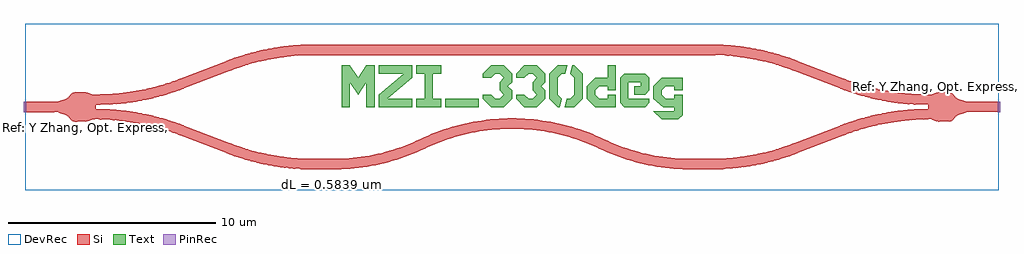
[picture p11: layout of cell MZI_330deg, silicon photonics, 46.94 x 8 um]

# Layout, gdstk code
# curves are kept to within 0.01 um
import gdstk
lib = gdstk.Library(unit=1e-6, precision=1e-09)
def R(c, l, rs):  # rectangles x0, y0, x1, y1
    for r in rs: c.add(gdstk.rectangle(r[:2], r[2:], *l))
def P(c, l, *ps):  # polygons
    for p in ps: c.add(gdstk.Polygon(p, *l))
Si = (1, 0)
PinRec = (1, 10)
Text = (10, 0)
DevRec = (68, 0)

optical_port1 = lib.new_cell('optical_port1')
optical_port1.add(gdstk.FlexPath([(0.05,0),(-0.05,0)], 0.5, ends="flush", simple_path=True, layer=1, datatype=10))  # PinRec
optical_port1.add(gdstk.FlexPath([(0.05,0),(-0.05,0)], 0.5, ends="flush", simple_path=True, layer=1, datatype=10))  # PinRec
optical_port1.add(gdstk.FlexPath([(0.05,0),(-0.05,0)], 0.5, ends="flush", simple_path=True, layer=1, datatype=10))  # PinRec
optical_port1.add(gdstk.FlexPath([(0.05,0),(-0.05,0)], 0.5, ends="flush", simple_path=True, layer=1, datatype=10))  # PinRec
optical_port1.add(gdstk.FlexPath([(0.05,0),(-0.05,0)], 0.5, ends="flush", simple_path=True, layer=1, datatype=10))  # PinRec
optical_port1.add(gdstk.FlexPath([(0.05,0),(-0.05,0)], 0.5, ends="flush", simple_path=True, layer=1, datatype=10))  # PinRec
optical_port1.add(gdstk.FlexPath([(0.05,0),(-0.05,0)], 0.5, ends="flush", simple_path=True, layer=1, datatype=10))  # PinRec
optical_port1.add(gdstk.FlexPath([(0.05,0),(-0.05,0)], 0.5, ends="flush", simple_path=True, layer=1, datatype=10))  # PinRec
optical_port1.add(gdstk.FlexPath([(0.05,0),(-0.05,0)], 0.5, ends="flush", simple_path=True, layer=1, datatype=10))  # PinRec
optical_port1.add(gdstk.FlexPath([(0.05,0),(-0.05,0)], 0.5, ends="flush", simple_path=True, layer=1, datatype=10))  # PinRec
optical_port1.add(gdstk.FlexPath([(0.05,0),(-0.05,0)], 0.5, ends="flush", simple_path=True, layer=1, datatype=10))  # PinRec
optical_port1.add(gdstk.FlexPath([(0.05,0),(-0.05,0)], 0.5, ends="flush", simple_path=True, layer=1, datatype=10))  # PinRec
optical_port1.add(gdstk.FlexPath([(0.05,0),(-0.05,0)], 0.5, ends="flush", simple_path=True, layer=1, datatype=10))  # PinRec
optical_port1.add(gdstk.FlexPath([(0.05,0),(-0.05,0)], 0.5, ends="flush", simple_path=True, layer=1, datatype=10))  # PinRec
optical_port1.add(gdstk.FlexPath([(0.05,0),(-0.05,0)], 0.5, ends="flush", simple_path=True, layer=1, datatype=10))  # PinRec
optical_port1.add(gdstk.FlexPath([(0.05,0),(-0.05,0)], 0.5, ends="flush", simple_path=True, layer=1, datatype=10))  # PinRec
optical_port1.add(gdstk.FlexPath([(0.05,0),(-0.05,0)], 0.5, ends="flush", simple_path=True, layer=1, datatype=10))  # PinRec
optical_port1.add(gdstk.FlexPath([(0.05,0),(-0.05,0)], 0.5, ends="flush", simple_path=True, layer=1, datatype=10))  # PinRec
optical_port1.add(gdstk.FlexPath([(0.05,0),(-0.05,0)], 0.5, ends="flush", simple_path=True, layer=1, datatype=10))  # PinRec
optical_port1.add(gdstk.FlexPath([(0.05,0),(-0.05,0)], 0.5, ends="flush", simple_path=True, layer=1, datatype=10))  # PinRec
optical_port1.add(gdstk.FlexPath([(0.05,0),(-0.05,0)], 0.5, ends="flush", simple_path=True, layer=1, datatype=10))  # PinRec
optical_port1.add(gdstk.FlexPath([(0.05,0),(-0.05,0)], 0.5, ends="flush", simple_path=True, layer=1, datatype=10))  # PinRec
optical_port1.add(gdstk.FlexPath([(0.05,0),(-0.05,0)], 0.5, ends="flush", simple_path=True, layer=1, datatype=10))  # PinRec
optical_port1.add(gdstk.FlexPath([(0.05,0),(-0.05,0)], 0.5, ends="flush", simple_path=True, layer=1, datatype=10))  # PinRec
optical_port1.add(gdstk.FlexPath([(0.05,0),(-0.05,0)], 0.5, ends="flush", simple_path=True, layer=1, datatype=10))  # PinRec
optical_port1.add(gdstk.FlexPath([(0.05,0),(-0.05,0)], 0.5, ends="flush", simple_path=True, layer=1, datatype=10))  # PinRec
optical_port1.add(gdstk.FlexPath([(0.05,0),(-0.05,0)], 0.5, ends="flush", simple_path=True, layer=1, datatype=10))  # PinRec
optical_port1.add(gdstk.FlexPath([(0.05,0),(-0.05,0)], 0.5, ends="flush", simple_path=True, layer=1, datatype=10))  # PinRec
optical_port1.add(gdstk.FlexPath([(0.05,0),(-0.05,0)], 0.5, ends="flush", simple_path=True, layer=1, datatype=10))  # PinRec
optical_port1.add(gdstk.FlexPath([(0.05,0),(-0.05,0)], 0.5, ends="flush", simple_path=True, layer=1, datatype=10))  # PinRec
optical_port1.add(gdstk.FlexPath([(0.05,0),(-0.05,0)], 0.5, ends="flush", simple_path=True, layer=1, datatype=10))  # PinRec
optical_port1.add(gdstk.FlexPath([(0.05,0),(-0.05,0)], 0.5, ends="flush", simple_path=True, layer=1, datatype=10))  # PinRec
optical_port1.add(gdstk.FlexPath([(0.05,0),(-0.05,0)], 0.5, ends="flush", simple_path=True, layer=1, datatype=10))  # PinRec
optical_port1.add(gdstk.FlexPath([(0.05,0),(-0.05,0)], 0.5, ends="flush", simple_path=True, layer=1, datatype=10))  # PinRec
optical_port1.add(gdstk.FlexPath([(0.05,0),(-0.05,0)], 0.5, ends="flush", simple_path=True, layer=1, datatype=10))  # PinRec
optical_port1.add(gdstk.FlexPath([(0.05,0),(-0.05,0)], 0.5, ends="flush", simple_path=True, layer=1, datatype=10))  # PinRec
optical_port1.add(gdstk.FlexPath([(0.05,0),(-0.05,0)], 0.5, ends="flush", simple_path=True, layer=1, datatype=10))  # PinRec
optical_port1.add(gdstk.Label('o1', (0,0), layer=1, texttype=10))
optical_port1.add(gdstk.Label('o1', (0,0), layer=1, texttype=10))
optical_port1.add(gdstk.Label('o1', (0,0), layer=1, texttype=10))
optical_port1.add(gdstk.Label('o1', (0,0), layer=1, texttype=10))
optical_port1.add(gdstk.Label('o1', (0,0), layer=1, texttype=10))
optical_port1.add(gdstk.Label('o1', (0,0), layer=1, texttype=10))
optical_port1.add(gdstk.Label('o1', (0,0), layer=1, texttype=10))
optical_port1.add(gdstk.Label('o1', (0,0), layer=1, texttype=10))
optical_port1.add(gdstk.Label('o1', (0,0), layer=1, texttype=10))
optical_port1.add(gdstk.Label('o1', (0,0), layer=1, texttype=10))
optical_port1.add(gdstk.Label('o1', (0,0), layer=1, texttype=10))
optical_port1.add(gdstk.Label('o1', (0,0), layer=1, texttype=10))
optical_port1.add(gdstk.Label('o1', (0,0), layer=1, texttype=10))
optical_port1.add(gdstk.Label('o1', (0,0), layer=1, texttype=10))
optical_port1.add(gdstk.Label('o1', (0,0), layer=1, texttype=10))
optical_port1.add(gdstk.Label('o1', (0,0), layer=1, texttype=10))
optical_port1.add(gdstk.Label('o1', (0,0), layer=1, texttype=10))
optical_port1.add(gdstk.Label('o1', (0,0), layer=1, texttype=10))
optical_port1.add(gdstk.Label('o1', (0,0), layer=1, texttype=10))
optical_port1.add(gdstk.Label('o1', (0,0), layer=1, texttype=10))
optical_port1.add(gdstk.Label('o1', (0,0), layer=1, texttype=10))
optical_port1.add(gdstk.Label('o1', (0,0), layer=1, texttype=10))
optical_port1.add(gdstk.Label('o1', (0,0), layer=1, texttype=10))
optical_port1.add(gdstk.Label('o1', (0,0), layer=1, texttype=10))
optical_port1.add(gdstk.Label('o1', (0,0), layer=1, texttype=10))
optical_port1.add(gdstk.Label('o1', (0,0), layer=1, texttype=10))
optical_port1.add(gdstk.Label('o1', (0,0), layer=1, texttype=10))
optical_port1.add(gdstk.Label('o1', (0,0), layer=1, texttype=10))
optical_port1.add(gdstk.Label('o1', (0,0), layer=1, texttype=10))
optical_port1.add(gdstk.Label('o1', (0,0), layer=1, texttype=10))
optical_port1.add(gdstk.Label('o1', (0,0), layer=1, texttype=10))
optical_port1.add(gdstk.Label('o1', (0,0), layer=1, texttype=10))
optical_port1.add(gdstk.Label('o1', (0,0), layer=1, texttype=10))
optical_port1.add(gdstk.Label('o1', (0,0), layer=1, texttype=10))
optical_port1.add(gdstk.Label('o1', (0,0), layer=1, texttype=10))
optical_port1.add(gdstk.Label('o1', (0,0), layer=1, texttype=10))
optical_port1.add(gdstk.Label('o1', (0,0), layer=1, texttype=10))

optical_port2 = lib.new_cell('optical_port2')
optical_port2.add(gdstk.FlexPath([(-0.05,0),(0.05,0)], 0.5, ends="flush", simple_path=True, layer=1, datatype=10))  # PinRec
optical_port2.add(gdstk.FlexPath([(-0.05,0),(0.05,0)], 0.5, ends="flush", simple_path=True, layer=1, datatype=10))  # PinRec
optical_port2.add(gdstk.FlexPath([(-0.05,0),(0.05,0)], 0.5, ends="flush", simple_path=True, layer=1, datatype=10))  # PinRec
optical_port2.add(gdstk.FlexPath([(-0.05,0),(0.05,0)], 0.5, ends="flush", simple_path=True, layer=1, datatype=10))  # PinRec
optical_port2.add(gdstk.FlexPath([(-0.05,0),(0.05,0)], 0.5, ends="flush", simple_path=True, layer=1, datatype=10))  # PinRec
optical_port2.add(gdstk.FlexPath([(-0.05,0),(0.05,0)], 0.5, ends="flush", simple_path=True, layer=1, datatype=10))  # PinRec
optical_port2.add(gdstk.FlexPath([(-0.05,0),(0.05,0)], 0.5, ends="flush", simple_path=True, layer=1, datatype=10))  # PinRec
optical_port2.add(gdstk.FlexPath([(-0.05,0),(0.05,0)], 0.5, ends="flush", simple_path=True, layer=1, datatype=10))  # PinRec
optical_port2.add(gdstk.FlexPath([(-0.05,0),(0.05,0)], 0.5, ends="flush", simple_path=True, layer=1, datatype=10))  # PinRec
optical_port2.add(gdstk.FlexPath([(-0.05,0),(0.05,0)], 0.5, ends="flush", simple_path=True, layer=1, datatype=10))  # PinRec
optical_port2.add(gdstk.FlexPath([(-0.05,0),(0.05,0)], 0.5, ends="flush", simple_path=True, layer=1, datatype=10))  # PinRec
optical_port2.add(gdstk.FlexPath([(-0.05,0),(0.05,0)], 0.5, ends="flush", simple_path=True, layer=1, datatype=10))  # PinRec
optical_port2.add(gdstk.FlexPath([(-0.05,0),(0.05,0)], 0.5, ends="flush", simple_path=True, layer=1, datatype=10))  # PinRec
optical_port2.add(gdstk.FlexPath([(-0.05,0),(0.05,0)], 0.5, ends="flush", simple_path=True, layer=1, datatype=10))  # PinRec
optical_port2.add(gdstk.FlexPath([(-0.05,0),(0.05,0)], 0.5, ends="flush", simple_path=True, layer=1, datatype=10))  # PinRec
optical_port2.add(gdstk.FlexPath([(-0.05,0),(0.05,0)], 0.5, ends="flush", simple_path=True, layer=1, datatype=10))  # PinRec
optical_port2.add(gdstk.FlexPath([(-0.05,0),(0.05,0)], 0.5, ends="flush", simple_path=True, layer=1, datatype=10))  # PinRec
optical_port2.add(gdstk.FlexPath([(-0.05,0),(0.05,0)], 0.5, ends="flush", simple_path=True, layer=1, datatype=10))  # PinRec
optical_port2.add(gdstk.FlexPath([(-0.05,0),(0.05,0)], 0.5, ends="flush", simple_path=True, layer=1, datatype=10))  # PinRec
optical_port2.add(gdstk.FlexPath([(-0.05,0),(0.05,0)], 0.5, ends="flush", simple_path=True, layer=1, datatype=10))  # PinRec
optical_port2.add(gdstk.FlexPath([(-0.05,0),(0.05,0)], 0.5, ends="flush", simple_path=True, layer=1, datatype=10))  # PinRec
optical_port2.add(gdstk.FlexPath([(-0.05,0),(0.05,0)], 0.5, ends="flush", simple_path=True, layer=1, datatype=10))  # PinRec
optical_port2.add(gdstk.FlexPath([(-0.05,0),(0.05,0)], 0.5, ends="flush", simple_path=True, layer=1, datatype=10))  # PinRec
optical_port2.add(gdstk.FlexPath([(-0.05,0),(0.05,0)], 0.5, ends="flush", simple_path=True, layer=1, datatype=10))  # PinRec
optical_port2.add(gdstk.FlexPath([(-0.05,0),(0.05,0)], 0.5, ends="flush", simple_path=True, layer=1, datatype=10))  # PinRec
optical_port2.add(gdstk.FlexPath([(-0.05,0),(0.05,0)], 0.5, ends="flush", simple_path=True, layer=1, datatype=10))  # PinRec
optical_port2.add(gdstk.FlexPath([(-0.05,0),(0.05,0)], 0.5, ends="flush", simple_path=True, layer=1, datatype=10))  # PinRec
optical_port2.add(gdstk.FlexPath([(-0.05,0),(0.05,0)], 0.5, ends="flush", simple_path=True, layer=1, datatype=10))  # PinRec
optical_port2.add(gdstk.FlexPath([(-0.05,0),(0.05,0)], 0.5, ends="flush", simple_path=True, layer=1, datatype=10))  # PinRec
optical_port2.add(gdstk.FlexPath([(-0.05,0),(0.05,0)], 0.5, ends="flush", simple_path=True, layer=1, datatype=10))  # PinRec
optical_port2.add(gdstk.FlexPath([(-0.05,0),(0.05,0)], 0.5, ends="flush", simple_path=True, layer=1, datatype=10))  # PinRec
optical_port2.add(gdstk.FlexPath([(-0.05,0),(0.05,0)], 0.5, ends="flush", simple_path=True, layer=1, datatype=10))  # PinRec
optical_port2.add(gdstk.FlexPath([(-0.05,0),(0.05,0)], 0.5, ends="flush", simple_path=True, layer=1, datatype=10))  # PinRec
optical_port2.add(gdstk.FlexPath([(-0.05,0),(0.05,0)], 0.5, ends="flush", simple_path=True, layer=1, datatype=10))  # PinRec
optical_port2.add(gdstk.FlexPath([(-0.05,0),(0.05,0)], 0.5, ends="flush", simple_path=True, layer=1, datatype=10))  # PinRec
optical_port2.add(gdstk.FlexPath([(-0.05,0),(0.05,0)], 0.5, ends="flush", simple_path=True, layer=1, datatype=10))  # PinRec
optical_port2.add(gdstk.FlexPath([(-0.05,0),(0.05,0)], 0.5, ends="flush", simple_path=True, layer=1, datatype=10))  # PinRec
optical_port2.add(gdstk.Label('o2', (0,0), layer=1, texttype=10))
optical_port2.add(gdstk.Label('o2', (0,0), layer=1, texttype=10))
optical_port2.add(gdstk.Label('o2', (0,0), layer=1, texttype=10))
optical_port2.add(gdstk.Label('o2', (0,0), layer=1, texttype=10))
optical_port2.add(gdstk.Label('o2', (0,0), layer=1, texttype=10))
optical_port2.add(gdstk.Label('o2', (0,0), layer=1, texttype=10))
optical_port2.add(gdstk.Label('o2', (0,0), layer=1, texttype=10))
optical_port2.add(gdstk.Label('o2', (0,0), layer=1, texttype=10))
optical_port2.add(gdstk.Label('o2', (0,0), layer=1, texttype=10))
optical_port2.add(gdstk.Label('o2', (0,0), layer=1, texttype=10))
optical_port2.add(gdstk.Label('o2', (0,0), layer=1, texttype=10))
optical_port2.add(gdstk.Label('o2', (0,0), layer=1, texttype=10))
optical_port2.add(gdstk.Label('o2', (0,0), layer=1, texttype=10))
optical_port2.add(gdstk.Label('o2', (0,0), layer=1, texttype=10))
optical_port2.add(gdstk.Label('o2', (0,0), layer=1, texttype=10))
optical_port2.add(gdstk.Label('o2', (0,0), layer=1, texttype=10))
optical_port2.add(gdstk.Label('o2', (0,0), layer=1, texttype=10))
optical_port2.add(gdstk.Label('o2', (0,0), layer=1, texttype=10))
optical_port2.add(gdstk.Label('o2', (0,0), layer=1, texttype=10))
optical_port2.add(gdstk.Label('o2', (0,0), layer=1, texttype=10))
optical_port2.add(gdstk.Label('o2', (0,0), layer=1, texttype=10))
optical_port2.add(gdstk.Label('o2', (0,0), layer=1, texttype=10))
optical_port2.add(gdstk.Label('o2', (0,0), layer=1, texttype=10))
optical_port2.add(gdstk.Label('o2', (0,0), layer=1, texttype=10))
optical_port2.add(gdstk.Label('o2', (0,0), layer=1, texttype=10))
optical_port2.add(gdstk.Label('o2', (0,0), layer=1, texttype=10))
optical_port2.add(gdstk.Label('o2', (0,0), layer=1, texttype=10))
optical_port2.add(gdstk.Label('o2', (0,0), layer=1, texttype=10))
optical_port2.add(gdstk.Label('o2', (0,0), layer=1, texttype=10))
optical_port2.add(gdstk.Label('o2', (0,0), layer=1, texttype=10))
optical_port2.add(gdstk.Label('o2', (0,0), layer=1, texttype=10))
optical_port2.add(gdstk.Label('o2', (0,0), layer=1, texttype=10))
optical_port2.add(gdstk.Label('o2', (0,0), layer=1, texttype=10))
optical_port2.add(gdstk.Label('o2', (0,0), layer=1, texttype=10))
optical_port2.add(gdstk.Label('o2', (0,0), layer=1, texttype=10))
optical_port2.add(gdstk.Label('o2', (0,0), layer=1, texttype=10))
optical_port2.add(gdstk.Label('o2', (0,0), layer=1, texttype=10))

text_tmzi_330deg_s2_p16_ = lib.new_cell('text_TMZI_330deg_S2_P16_7188930a')
R(text_tmzi_330deg_s2_p16_, Text, [(12.82,0,14.42,0.4)])
P(text_tmzi_330deg_s2_p16_, Text, [(23.22,-0.6),(22.82,-0.2),(23.82,-0.2),(23.82,0),(23.288,0),(22.82,0.4),(22.82,1),(23.22,1.4),(24.22,1.4),(24.22,0.8),(23.82,0.8),(23.82,1),(23.42,1),(23.22,0.8),(23.22,0.6),(23.42,0.4),(23.82,0.4),(23.82,0.6),(24.22,0.6),(24.22,-0.4),(24.02,-0.6)],
  [(21.42,0),(21.22,0.2),(21.22,1.4),(21.42,1.6),(22.42,1.6),(22.62,1.4),(22.62,0.8),(22.42,0.6),(21.9,0.6),(21.9,1),(22.22,1),(22.22,1.2),(21.62,1.2),(21.62,0.4),(22.62,0.4),(22.62,0.2),(22.42,0)],
  [(7.82,0),(7.82,2),(8.22,2),(8.62,1.4),(9.02,2),(9.42,2),(9.42,0),(9.02,0),(9.02,1.2),(8.62,0.6),(8.22,1.2),(8.22,0)],
  [(9.62,0),(9.62,0.6),(10.82,1.6),(9.62,1.6),(9.62,2),(11.22,2),(11.22,1.4),(10.02,0.4),(11.22,0.4),(11.22,0)],
  [(11.42,0),(11.42,0.4),(11.82,0.4),(11.82,1.6),(11.42,1.6),(11.42,2),(12.62,2),(12.62,1.6),(12.22,1.6),(12.22,0.4),(12.62,0.4),(12.62,0)],
  [(15.02,0),(14.62,0.4),(14.62,0.6),(15.02,0.6),(15.22,0.4),(15.42,0.4),(15.62,0.6),(15.42,0.8),(15.42,1.2),(15.62,1.4),(15.42,1.6),(15.22,1.6),(15.02,1.4),(14.62,1.4),(14.62,1.6),(15.02,2),(15.62,2),(16.02,1.6),(16.02,1.2),(15.82,1),(16.02,0.8),(16.02,0.4),(15.62,0)],
  [(16.62,0),(16.22,0.4),(16.22,0.6),(16.62,0.6),(16.82,0.4),(17.02,0.4),(17.22,0.6),(17.02,0.8),(17.02,1.2),(17.22,1.4),(17.02,1.6),(16.82,1.6),(16.62,1.4),(16.22,1.4),(16.22,1.6),(16.62,2),(17.22,2),(17.62,1.6),(17.62,1.2),(17.42,1),(17.62,0.8),(17.62,0.4),(17.22,0)],
  [(18.22,0),(17.82,0.4),(17.82,1.6),(18.22,2),(18.68,2),(18.58,1.6),(18.42,1.6),(18.22,1.4),(18.22,0.6),(18.42,0.4),(18.32,0)],
  [(18.56,0),(18.66,0.4),(18.82,0.4),(19.02,0.6),(19.02,1.4),(18.82,1.6),(18.92,2),(19.02,2),(19.42,1.6),(19.42,0.4),(19.02,0)],
  [(20.02,0),(19.62,0.4),(19.62,1),(20.02,1.4),(20.62,1.4),(20.62,2),(21.02,2),(21.02,0.8),(20.62,0.8),(20.62,1),(20.22,1),(20.02,0.8),(20.02,0.6),(20.22,0.4),(20.62,0.4),(20.62,0.6),(21.02,0.6),(21.02,0)])

mzi_330deg = lib.new_cell('MZI_330deg')
P(mzi_330deg, Si, [(6.458,-3),(5.718,-2.974),(4.993,-2.903),(4.257,-2.784),(3.509,-2.613),(3.017,-2.472),(2.491,-2.295),(-0.369,-1.202),(-1.123,-0.974),(-1.826,-0.812),(-2.677,-0.678),(-3.601,-0.607),(-4.123,-0.595),(-4.492,-0.699),(-4.991,-0.701),(-5.077,-0.683),(-5.145,-0.647),(-5.344,-0.44),(-5.434,-0.378),(-5.833,-0.25),(-7.4,-0.25),(-7.4,0.25),(-5.833,0.25),(-5.434,0.378),(-5.344,0.44),(-5.145,0.647),(-5.077,0.683),(-4.991,0.701),(-4.492,0.699),(-4.123,0.595),(-3.501,0.611),(-2.619,0.685),(-1.693,0.839),(-0.976,1.014),(-0.334,1.214),(2.412,2.266),(3.109,2.5),(6.456,2.5),(5.796,2.478),(5.119,2.415),(4.414,2.305),(3.799,2.171),(3.282,2.03),(2.706,1.841),(0.088,0.834),(-0.72,0.567),(-1.565,0.355),(-2.381,0.212),(-3.16,0.13),(-4,0.1),(-4,-0.1),(-3.265,-0.123),(-2.564,-0.188),(-1.895,-0.29),(-1.214,-0.435),(-0.612,-0.599),(-0.086,-0.771),(2.532,-1.777),(3.336,-2.046),(3.962,-2.21),(4.54,-2.328),(5.119,-2.415),(5.678,-2.47),(6.344,-2.499),(7.795,-2.492),(8.386,-2.45),(9.167,-2.338),(9.938,-2.164),(10.505,-1.993),(11.06,-1.787),(11.981,-1.376),(12.365,-1.221),(12.756,-1.08),(13.352,-0.9),(13.958,-0.757),(14.572,-0.65),(15.398,-0.566),(16.02,-0.547),(16.642,-0.566),(17.468,-0.65),(18.082,-0.757),(18.688,-0.9),(19.284,-1.08),(19.675,-1.221),(20.059,-1.376),(20.979,-1.787),(21.534,-1.993),(22.101,-2.164),(22.872,-2.338),(23.457,-2.428),(24.244,-2.492),(25.695,-2.499),(26.488,-2.46),(27.036,-2.4),(27.625,-2.305),(28.24,-2.171),(28.757,-2.03),(29.507,-1.777),(32.008,-0.813),(32.461,-0.658),(32.999,-0.5),(33.796,-0.316),(34.532,-0.197),(35.288,-0.124),(36.039,-0.1),(36.039,0.1),(35.304,0.123),(34.603,0.188),(33.934,0.29),(33.253,0.435),(32.651,0.599),(32.125,0.771),(29.507,1.777),(28.757,2.03),(28.24,2.171),(27.667,2.297),(27.08,2.394),(26.567,2.453),(26.081,2.487),(25.583,2.5),(3.109,2.5),(3.59,2.634),(4.147,2.762),(4.757,2.87),(5.294,2.938),(5.868,2.983),(6.458,3),(25.581,3),(26.446,2.965),(27.046,2.903),(27.644,2.81),(28.229,2.688),(28.819,2.533),(29.627,2.266),(32.373,1.214),(33.015,1.014),(33.732,0.839),(34.658,0.685),(35.54,0.611),(36.162,0.595),(36.531,0.699),(37.03,0.701),(37.116,0.683),(37.184,0.647),(37.383,0.44),(37.473,0.378),(37.872,0.25),(39.439,0.25),(39.439,-0.25),(37.872,-0.25),(37.473,-0.378),(37.383,-0.44),(37.184,-0.647),(37.116,-0.683),(37.03,-0.701),(36.531,-0.699),(36.162,-0.595),(35.54,-0.611),(34.658,-0.685),(33.732,-0.839),(33.015,-1.014),(32.373,-1.214),(29.627,-2.266),(28.937,-2.498),(28.449,-2.634),(27.892,-2.762),(27.282,-2.87),(26.745,-2.938),(25.848,-2.996),(24.431,-2.998),(23.81,-2.966),(22.985,-2.866),(22.172,-2.699),(21.375,-2.467),(20.6,-2.171),(19.862,-1.836),(19.496,-1.688),(19.125,-1.554),(18.558,-1.383),(17.981,-1.246),(17.202,-1.119),(16.612,-1.065),(16.02,-1.047),(15.428,-1.065),(14.838,-1.119),(14.059,-1.246),(13.482,-1.383),(12.915,-1.554),(12.544,-1.688),(12.178,-1.836),(11.439,-2.171),(10.664,-2.467),(10.068,-2.647),(9.462,-2.79),(8.848,-2.897),(8.022,-2.981),(7.608,-2.998)])
R(mzi_330deg, DevRec, [(-7.4,-4,39.439,4)])
mzi_330deg.add(gdstk.Reference(optical_port1, (-7.4,0)))
mzi_330deg.add(gdstk.Reference(optical_port2, (39.439,0)))
mzi_330deg.add(gdstk.Reference(text_tmzi_330deg_s2_p16_, (0,0)))
mzi_330deg.add(gdstk.Label('Ref: Y Zhang, Opt. Express, 21/1, 2013', (-5.65,-1), layer=10, texttype=0))
mzi_330deg.add(gdstk.Label('Ref: Y Zhang, Opt. Express, 21/1, 2013', (37.689,1), layer=10, texttype=0))
mzi_330deg.add(gdstk.Label('dL = 0.5839 um', (7.401,-3.75), layer=10, texttype=0))

lib.write_gds('MZI_330deg.gds')
